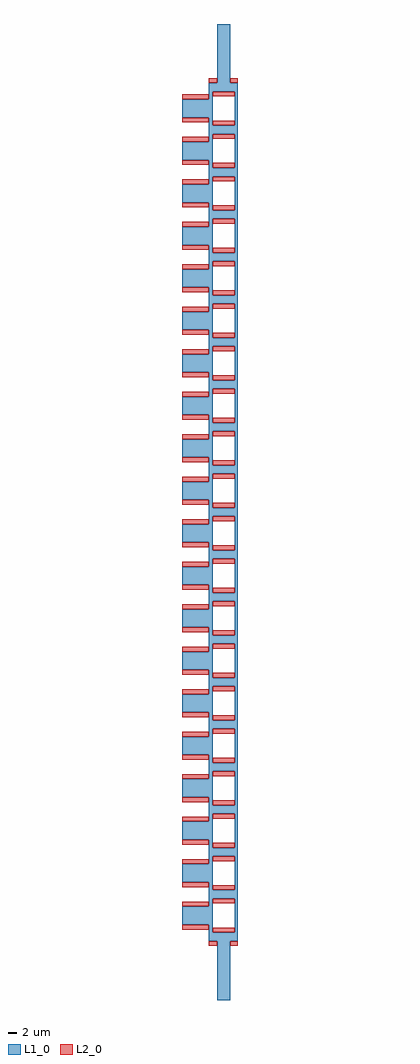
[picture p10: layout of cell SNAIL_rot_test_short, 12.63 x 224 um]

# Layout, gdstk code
import gdstk
lib = gdstk.Library(unit=1e-6, precision=1e-09)
def R(c, l, rs):  # rectangles x0, y0, x1, y1
    for r in rs: c.add(gdstk.rectangle(r[:2], r[2:], *l))
def A(c, l, x, y, w, h, nx, ny, dx, dy):  # array of equal rectangles
    R(c, l, [(x+i*dx, y+j*dy, x+i*dx+w, y+j*dy+h) for i in range(nx) for j in range(ny)])
def P(c, l, *ps):  # polygons
    for p in ps: c.add(gdstk.Polygon(p, *l))
L1_0 = (1, 0)
L2_0 = (2, 0)

snail_rot_test_short = lib.new_cell('SNAIL_rot_test_short')
A(snail_rot_test_short, L1_0, -9.5, -93.725, 7, 2.2, 1, 20, 0, 9.75)
R(snail_rot_test_short, L1_0, [(-1.5,-112,1.5,-98.5), (-1.5,98.5,1.5,112)])
P(snail_rot_test_short, L1_0, [(3.13,-98.5),(-3.5,-98.5),(-3.5,-94.725),(-9.5,-94.725),(-9.5,-93.725),(-2.5,-93.725),(-2.5,-96.5),(2.5,-96.5),(2.5,-92.625),(3.13,-92.625),(3.13,-93.625),(3.13,-93.625)],
  [(3.13,-87.75),(-3.5,-87.75),(-3.5,-90.525),(-9.5,-90.525),(-9.5,-91.525),(-2.5,-91.525),(-2.5,-88.75),(2.5,-88.75),(2.5,-92.625),(3.13,-92.625),(3.13,-91.625),(3.13,-91.625)],
  [(3.13,-87.75),(-3.5,-87.75),(-3.5,-84.975),(-9.5,-84.975),(-9.5,-83.975),(-2.5,-83.975),(-2.5,-86.75),(2.5,-86.75),(2.5,-82.875),(3.13,-82.875),(3.13,-83.875),(3.13,-83.875)],
  [(3.13,-78),(-3.5,-78),(-3.5,-80.775),(-9.5,-80.775),(-9.5,-81.775),(-2.5,-81.775),(-2.5,-79),(2.5,-79),(2.5,-82.875),(3.13,-82.875),(3.13,-81.875),(3.13,-81.875)],
  [(3.13,-78),(-3.5,-78),(-3.5,-75.225),(-9.5,-75.225),(-9.5,-74.225),(-2.5,-74.225),(-2.5,-77),(2.5,-77),(2.5,-73.125),(3.13,-73.125),(3.13,-74.125),(3.13,-74.125)],
  [(3.13,-68.25),(-3.5,-68.25),(-3.5,-71.025),(-9.5,-71.025),(-9.5,-72.025),(-2.5,-72.025),(-2.5,-69.25),(2.5,-69.25),(2.5,-73.125),(3.13,-73.125),(3.13,-72.125),(3.13,-72.125)],
  [(3.13,-68.25),(-3.5,-68.25),(-3.5,-65.475),(-9.5,-65.475),(-9.5,-64.475),(-2.5,-64.475),(-2.5,-67.25),(2.5,-67.25),(2.5,-63.375),(3.13,-63.375),(3.13,-64.375),(3.13,-64.375)],
  [(3.13,-58.5),(-3.5,-58.5),(-3.5,-61.275),(-9.5,-61.275),(-9.5,-62.275),(-2.5,-62.275),(-2.5,-59.5),(2.5,-59.5),(2.5,-63.375),(3.13,-63.375),(3.13,-62.375),(3.13,-62.375)],
  [(3.13,-58.5),(-3.5,-58.5),(-3.5,-55.725),(-9.5,-55.725),(-9.5,-54.725),(-2.5,-54.725),(-2.5,-57.5),(2.5,-57.5),(2.5,-53.625),(3.13,-53.625),(3.13,-54.625),(3.13,-54.625)],
  [(3.13,-48.75),(-3.5,-48.75),(-3.5,-51.525),(-9.5,-51.525),(-9.5,-52.525),(-2.5,-52.525),(-2.5,-49.75),(2.5,-49.75),(2.5,-53.625),(3.13,-53.625),(3.13,-52.625),(3.13,-52.625)],
  [(3.13,-48.75),(-3.5,-48.75),(-3.5,-45.975),(-9.5,-45.975),(-9.5,-44.975),(-2.5,-44.975),(-2.5,-47.75),(2.5,-47.75),(2.5,-43.875),(3.13,-43.875),(3.13,-44.875),(3.13,-44.875)],
  [(3.13,-39),(-3.5,-39),(-3.5,-41.775),(-9.5,-41.775),(-9.5,-42.775),(-2.5,-42.775),(-2.5,-40),(2.5,-40),(2.5,-43.875),(3.13,-43.875),(3.13,-42.875),(3.13,-42.875)],
  [(3.13,-39),(-3.5,-39),(-3.5,-36.225),(-9.5,-36.225),(-9.5,-35.225),(-2.5,-35.225),(-2.5,-38),(2.5,-38),(2.5,-34.125),(3.13,-34.125),(3.13,-35.125),(3.13,-35.125)],
  [(3.13,-29.25),(-3.5,-29.25),(-3.5,-32.025),(-9.5,-32.025),(-9.5,-33.025),(-2.5,-33.025),(-2.5,-30.25),(2.5,-30.25),(2.5,-34.125),(3.13,-34.125),(3.13,-33.125),(3.13,-33.125)],
  [(3.13,-29.25),(-3.5,-29.25),(-3.5,-26.475),(-9.5,-26.475),(-9.5,-25.475),(-2.5,-25.475),(-2.5,-28.25),(2.5,-28.25),(2.5,-24.375),(3.13,-24.375),(3.13,-25.375),(3.13,-25.375)],
  [(3.13,-19.5),(-3.5,-19.5),(-3.5,-22.275),(-9.5,-22.275),(-9.5,-23.275),(-2.5,-23.275),(-2.5,-20.5),(2.5,-20.5),(2.5,-24.375),(3.13,-24.375),(3.13,-23.375),(3.13,-23.375)],
  [(3.13,-19.5),(-3.5,-19.5),(-3.5,-16.725),(-9.5,-16.725),(-9.5,-15.725),(-2.5,-15.725),(-2.5,-18.5),(2.5,-18.5),(2.5,-14.625),(3.13,-14.625),(3.13,-15.625),(3.13,-15.625)],
  [(3.13,-9.75),(-3.5,-9.75),(-3.5,-12.525),(-9.5,-12.525),(-9.5,-13.525),(-2.5,-13.525),(-2.5,-10.75),(2.5,-10.75),(2.5,-14.625),(3.13,-14.625),(3.13,-13.625),(3.13,-13.625)],
  [(3.13,-9.75),(-3.5,-9.75),(-3.5,-6.975),(-9.5,-6.975),(-9.5,-5.975),(-2.5,-5.975),(-2.5,-8.75),(2.5,-8.75),(2.5,-4.875),(3.13,-4.875),(3.13,-5.875),(3.13,-5.875)],
  [(3.13,0),(-3.5,0),(-3.5,-2.775),(-9.5,-2.775),(-9.5,-3.775),(-2.5,-3.775),(-2.5,-1),(2.5,-1),(2.5,-4.875),(3.13,-4.875),(3.13,-3.875),(3.13,-3.875)],
  [(3.13,0),(-3.5,0),(-3.5,2.775),(-9.5,2.775),(-9.5,3.775),(-2.5,3.775),(-2.5,1),(2.5,1),(2.5,4.875),(3.13,4.875),(3.13,3.875),(3.13,3.875)],
  [(3.13,9.75),(-3.5,9.75),(-3.5,6.975),(-9.5,6.975),(-9.5,5.975),(-2.5,5.975),(-2.5,8.75),(2.5,8.75),(2.5,4.875),(3.13,4.875),(3.13,5.875),(3.13,5.875)],
  [(3.13,9.75),(-3.5,9.75),(-3.5,12.525),(-9.5,12.525),(-9.5,13.525),(-2.5,13.525),(-2.5,10.75),(2.5,10.75),(2.5,14.625),(3.13,14.625),(3.13,13.625),(3.13,13.625)],
  [(3.13,19.5),(-3.5,19.5),(-3.5,16.725),(-9.5,16.725),(-9.5,15.725),(-2.5,15.725),(-2.5,18.5),(2.5,18.5),(2.5,14.625),(3.13,14.625),(3.13,15.625),(3.13,15.625)],
  [(3.13,19.5),(-3.5,19.5),(-3.5,22.275),(-9.5,22.275),(-9.5,23.275),(-2.5,23.275),(-2.5,20.5),(2.5,20.5),(2.5,24.375),(3.13,24.375),(3.13,23.375),(3.13,23.375)],
  [(3.13,29.25),(-3.5,29.25),(-3.5,26.475),(-9.5,26.475),(-9.5,25.475),(-2.5,25.475),(-2.5,28.25),(2.5,28.25),(2.5,24.375),(3.13,24.375),(3.13,25.375),(3.13,25.375)],
  [(3.13,29.25),(-3.5,29.25),(-3.5,32.025),(-9.5,32.025),(-9.5,33.025),(-2.5,33.025),(-2.5,30.25),(2.5,30.25),(2.5,34.125),(3.13,34.125),(3.13,33.125),(3.13,33.125)],
  [(3.13,39),(-3.5,39),(-3.5,36.225),(-9.5,36.225),(-9.5,35.225),(-2.5,35.225),(-2.5,38),(2.5,38),(2.5,34.125),(3.13,34.125),(3.13,35.125),(3.13,35.125)],
  [(3.13,39),(-3.5,39),(-3.5,41.775),(-9.5,41.775),(-9.5,42.775),(-2.5,42.775),(-2.5,40),(2.5,40),(2.5,43.875),(3.13,43.875),(3.13,42.875),(3.13,42.875)],
  [(3.13,48.75),(-3.5,48.75),(-3.5,45.975),(-9.5,45.975),(-9.5,44.975),(-2.5,44.975),(-2.5,47.75),(2.5,47.75),(2.5,43.875),(3.13,43.875),(3.13,44.875),(3.13,44.875)],
  [(3.13,48.75),(-3.5,48.75),(-3.5,51.525),(-9.5,51.525),(-9.5,52.525),(-2.5,52.525),(-2.5,49.75),(2.5,49.75),(2.5,53.625),(3.13,53.625),(3.13,52.625),(3.13,52.625)],
  [(3.13,58.5),(-3.5,58.5),(-3.5,55.725),(-9.5,55.725),(-9.5,54.725),(-2.5,54.725),(-2.5,57.5),(2.5,57.5),(2.5,53.625),(3.13,53.625),(3.13,54.625),(3.13,54.625)],
  [(3.13,58.5),(-3.5,58.5),(-3.5,61.275),(-9.5,61.275),(-9.5,62.275),(-2.5,62.275),(-2.5,59.5),(2.5,59.5),(2.5,63.375),(3.13,63.375),(3.13,62.375),(3.13,62.375)],
  [(3.13,68.25),(-3.5,68.25),(-3.5,65.475),(-9.5,65.475),(-9.5,64.475),(-2.5,64.475),(-2.5,67.25),(2.5,67.25),(2.5,63.375),(3.13,63.375),(3.13,64.375),(3.13,64.375)],
  [(3.13,68.25),(-3.5,68.25),(-3.5,71.025),(-9.5,71.025),(-9.5,72.025),(-2.5,72.025),(-2.5,69.25),(2.5,69.25),(2.5,73.125),(3.13,73.125),(3.13,72.125),(3.13,72.125)],
  [(3.13,78),(-3.5,78),(-3.5,75.225),(-9.5,75.225),(-9.5,74.225),(-2.5,74.225),(-2.5,77),(2.5,77),(2.5,73.125),(3.13,73.125),(3.13,74.125),(3.13,74.125)],
  [(3.13,78),(-3.5,78),(-3.5,80.775),(-9.5,80.775),(-9.5,81.775),(-2.5,81.775),(-2.5,79),(2.5,79),(2.5,82.875),(3.13,82.875),(3.13,81.875),(3.13,81.875)],
  [(3.13,87.75),(-3.5,87.75),(-3.5,84.975),(-9.5,84.975),(-9.5,83.975),(-2.5,83.975),(-2.5,86.75),(2.5,86.75),(2.5,82.875),(3.13,82.875),(3.13,83.875),(3.13,83.875)],
  [(3.13,87.75),(-3.5,87.75),(-3.5,90.525),(-9.5,90.525),(-9.5,91.525),(-2.5,91.525),(-2.5,88.75),(2.5,88.75),(2.5,92.625),(3.13,92.625),(3.13,91.625),(3.13,91.625)],
  [(3.13,98.5),(-3.5,98.5),(-3.5,94.725),(-9.5,94.725),(-9.5,93.725),(-2.5,93.725),(-2.5,96.5),(2.5,96.5),(2.5,92.625),(3.13,92.625),(3.13,93.625),(3.13,93.625)])
R(snail_rot_test_short, L2_0, [(-3.5,-99.6,-1.5,-98.5), (1.5,-99.6,3.13,-98.5), (-2.5,-96.5,2.5,-95.4), (-9.5,-95.825,-3.5,-94.725), (-9.5,-90.525,-3.5,-89.425), (-2.5,-89.85,2.5,-88.75), (-2.5,-86.75,2.5,-85.65), (-9.5,-86.075,-3.5,-84.975), (-9.5,-80.775,-3.5,-79.675), (-2.5,-80.1,2.5,-79), (-2.5,-77,2.5,-75.9), (-9.5,-76.325,-3.5,-75.225), (-9.5,-71.025,-3.5,-69.925), (-2.5,-70.35,2.5,-69.25), (-2.5,-67.25,2.5,-66.15), (-9.5,-66.575,-3.5,-65.475), (-9.5,-61.275,-3.5,-60.175), (-2.5,-60.6,2.5,-59.5), (-2.5,-57.5,2.5,-56.4), (-9.5,-56.825,-3.5,-55.725), (-9.5,-51.525,-3.5,-50.425), (-2.5,-50.85,2.5,-49.75), (-2.5,-47.75,2.5,-46.65), (-9.5,-47.075,-3.5,-45.975), (-9.5,-41.775,-3.5,-40.675), (-2.5,-41.1,2.5,-40), (-2.5,-38,2.5,-36.9), (-9.5,-37.325,-3.5,-36.225), (-9.5,-32.025,-3.5,-30.925), (-2.5,-31.35,2.5,-30.25), (-2.5,-28.25,2.5,-27.15), (-9.5,-27.575,-3.5,-26.475), (-9.5,-22.275,-3.5,-21.175), (-2.5,-21.6,2.5,-20.5), (-2.5,-18.5,2.5,-17.4), (-9.5,-17.825,-3.5,-16.725), (-9.5,-12.525,-3.5,-11.425), (-2.5,-11.85,2.5,-10.75), (-2.5,-8.75,2.5,-7.65), (-9.5,-8.075,-3.5,-6.975), (-9.5,-2.775,-3.5,-1.675), (-2.5,-2.1,2.5,-1), (-2.5,1,2.5,2.1), (-9.5,1.675,-3.5,2.775), (-9.5,6.975,-3.5,8.075), (-2.5,7.65,2.5,8.75), (-2.5,10.75,2.5,11.85), (-9.5,11.425,-3.5,12.525), (-9.5,16.725,-3.5,17.825), (-2.5,17.4,2.5,18.5), (-2.5,20.5,2.5,21.6), (-9.5,21.175,-3.5,22.275), (-9.5,26.475,-3.5,27.575), (-2.5,27.15,2.5,28.25), (-2.5,30.25,2.5,31.35), (-9.5,30.925,-3.5,32.025), (-9.5,36.225,-3.5,37.325), (-2.5,36.9,2.5,38), (-2.5,40,2.5,41.1), (-9.5,40.675,-3.5,41.775), (-9.5,45.975,-3.5,47.075), (-2.5,46.65,2.5,47.75), (-2.5,49.75,2.5,50.85), (-9.5,50.425,-3.5,51.525), (-9.5,55.725,-3.5,56.825), (-2.5,56.4,2.5,57.5), (-2.5,59.5,2.5,60.6), (-9.5,60.175,-3.5,61.275), (-9.5,65.475,-3.5,66.575), (-2.5,66.15,2.5,67.25), (-2.5,69.25,2.5,70.35), (-9.5,69.925,-3.5,71.025), (-9.5,75.225,-3.5,76.325), (-2.5,75.9,2.5,77), (-2.5,79,2.5,80.1), (-9.5,79.675,-3.5,80.775), (-9.5,84.975,-3.5,86.075), (-2.5,85.65,2.5,86.75), (-2.5,88.75,2.5,89.85), (-9.5,89.425,-3.5,90.525), (-9.5,94.725,-3.5,95.825), (-2.5,95.4,2.5,96.5), (-3.5,98.5,-1.5,99.6), (1.5,98.5,3.13,99.6)])

lib.write_gds('SNAIL_rot_test_short.gds')
